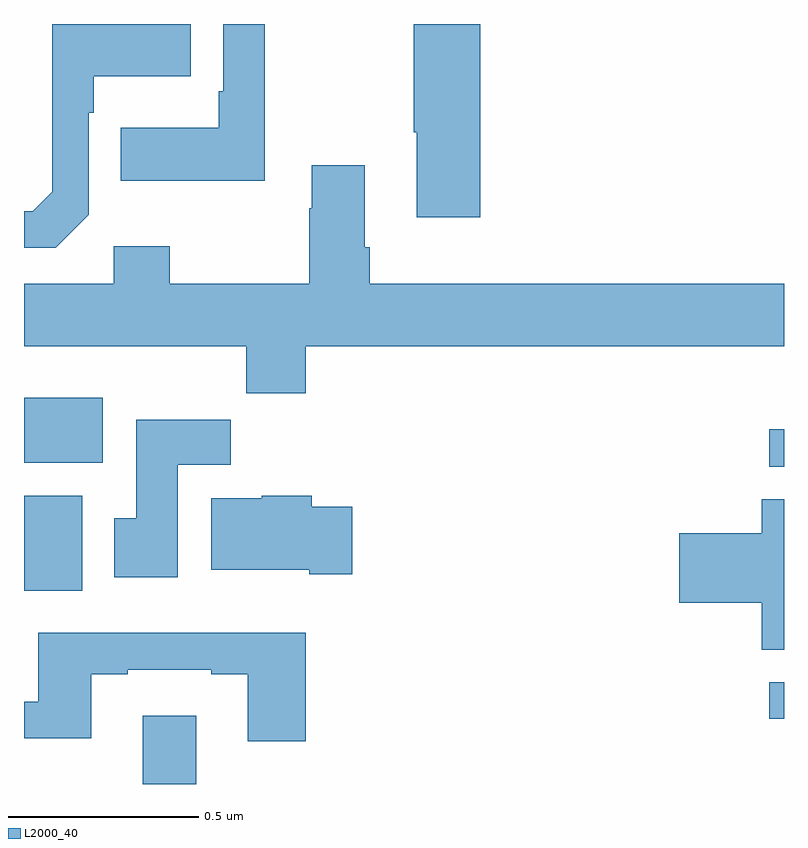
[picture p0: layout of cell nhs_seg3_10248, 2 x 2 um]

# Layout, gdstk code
import gdstk
lib = gdstk.Library(unit=1e-6, precision=1e-09)
def R(c, l, rs):  # rectangles x0, y0, x1, y1
    for r in rs: c.add(gdstk.rectangle(r[:2], r[2:], *l))
def P(c, l, *ps):  # polygons
    for p in ps: c.add(gdstk.Polygon(p, *l))
L2000_40 = (2000, 40)

nhs_seg3_10248 = lib.new_cell('nhs_seg3_10248')
R(nhs_seg3_10248, L2000_40, [(238.313,730.4,238.453,730.579), (239.961,730.572,240,730.668), (238,730.908,238.153,731.158), (239.961,731.235,240,731.334), (238,731.246,238.207,731.416)])
P(nhs_seg3_10248, L2000_40, [(238.633,732.4),(238.524,732.4),(238.524,732.223),(238.512,732.223),(238.512,732.127),(238.255,732.127),(238.255,731.987),(238.633,731.987)],
  [(238.17,731.898),(238.17,732.167),(238.183,732.167),(238.183,732.263),(238.439,732.263),(238.439,732.4),(238.074,732.4),(238.074,731.958),(238.023,731.907),(238,731.907),(238,731.811),(238.083,731.811)],
  [(239.201,732.4),(239.026,732.4),(239.026,732.115),(239.033,732.115),(239.033,731.892),(239.201,731.892)],
  [(238.742,731.552),(240,731.552),(240,731.716),(238.91,731.716),(238.91,731.812),(238.897,731.812),(238.897,732.028),(238.757,732.028),(238.757,731.915),(238.75,731.915),(238.75,731.716),(238.383,731.716),(238.383,731.815),(238.236,731.815),(238.236,731.716),(238,731.716),(238,731.552),(238.585,731.552),(238.585,731.428),(238.742,731.428)],
  [(238.405,731.24),(238.544,731.24),(238.544,731.358),(238.295,731.358),(238.295,731.1),(238.238,731.1),(238.238,730.944),(238.405,730.944)],
  [(238.864,731.13),(238.757,731.13),(238.757,731.158),(238.626,731.158),(238.626,731.152),(238.493,731.152),(238.493,730.964),(238.751,730.964),(238.751,730.952),(238.864,730.952)],
  [(240,731.15),(239.942,731.15),(239.942,731.06),(239.724,731.06),(239.724,730.877),(239.942,730.877),(239.942,730.753),(240,730.753)],
  [(238.742,730.798),(238.037,730.798),(238.037,730.617),(238,730.617),(238,730.52),(238.177,730.52),(238.177,730.689),(238.273,730.689),(238.273,730.701),(238.493,730.701),(238.493,730.689),(238.589,730.689),(238.589,730.512),(238.742,730.512)])

lib.write_gds('nhs_seg3_10248.gds')
